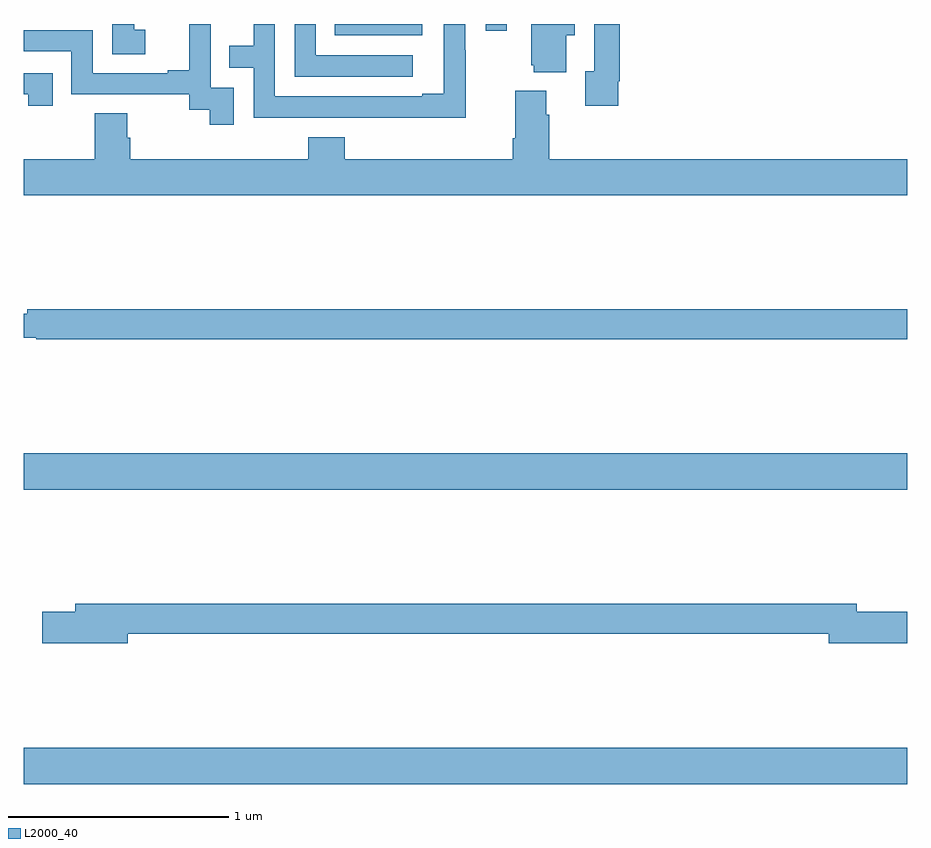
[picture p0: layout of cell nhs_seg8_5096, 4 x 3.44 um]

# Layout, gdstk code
import gdstk
lib = gdstk.Library(unit=1e-6, precision=1e-09)
def R(c, l, rs):  # rectangles x0, y0, x1, y1
    for r in rs: c.add(gdstk.rectangle(r[:2], r[2:], *l))
def P(c, l, *ps):  # polygons
    for p in ps: c.add(gdstk.Polygon(p, *l))
L2000_40 = (2000, 40)

nhs_seg8_5096 = lib.new_cell('nhs_seg8_5096')
R(nhs_seg8_5096, L2000_40, [(417,1156.46,421,1156.624), (417,1157.792,421,1157.956), (418.408,1159.85,418.804,1159.9), (419.091,1159.869,419.187,1159.9)])
P(nhs_seg8_5096, L2000_40, [(417.55,1159.873),(417.501,1159.873),(417.501,1159.9),(417.402,1159.9),(417.402,1159.764),(417.55,1159.764)],
  [(417.951,1159.611),(417.846,1159.611),(417.846,1159.841),(417.848,1159.841),(417.848,1159.9),(417.749,1159.9),(417.749,1159.69),(417.653,1159.69),(417.653,1159.677),(417.312,1159.677),(417.312,1159.872),(417,1159.872),(417,1159.776),(417.216,1159.776),(417.216,1159.581),(417.75,1159.581),(417.75,1159.513),(417.843,1159.513),(417.843,1159.443),(417.951,1159.443)],
  [(419.692,1159.642),(419.699,1159.642),(419.699,1159.9),(419.583,1159.9),(419.583,1159.686),(419.543,1159.686),(419.543,1159.53),(419.692,1159.53)],
  [(419.001,1159.781),(418.998,1159.781),(418.998,1159.9),(418.902,1159.9),(418.902,1159.585),(418.805,1159.585),(418.805,1159.572),(418.137,1159.572),(418.137,1159.9),(418.041,1159.9),(418.041,1159.802),(417.931,1159.802),(417.931,1159.701),(418.041,1159.701),(418.041,1159.476),(418.537,1159.476),(418.537,1159.475),(419.001,1159.475)],
  [(419.455,1159.85),(419.494,1159.85),(419.494,1159.9),(419.297,1159.9),(419.297,1159.713),(419.309,1159.713),(419.309,1159.682),(419.455,1159.682)],
  [(418.762,1159.758),(418.323,1159.758),(418.323,1159.9),(418.227,1159.9),(418.227,1159.662),(418.762,1159.662)],
  [(417.131,1159.677),(417,1159.677),(417,1159.581),(417.02,1159.581),(417.02,1159.53),(417.131,1159.53)],
  [(421,1159.288),(419.378,1159.288),(419.378,1159.49),(419.365,1159.49),(419.365,1159.597),(419.225,1159.597),(419.225,1159.384),(419.213,1159.384),(419.213,1159.288),(418.454,1159.288),(418.454,1159.387),(418.289,1159.387),(418.289,1159.288),(417.482,1159.288),(417.482,1159.386),(417.469,1159.386),(417.469,1159.496),(417.322,1159.496),(417.322,1159.288),(417,1159.288),(417,1159.124),(421,1159.124)],
  [(421,1158.608),(417.016,1158.608),(417.016,1158.589),(417,1158.589),(417,1158.48),(417.058,1158.48),(417.058,1158.472),(421,1158.472)],
  [(417.472,1157.14),(420.644,1157.14),(420.644,1157.098),(421,1157.098),(421,1157.24),(420.772,1157.24),(420.772,1157.276),(417.233,1157.276),(417.233,1157.24),(417.084,1157.24),(417.084,1157.098),(417.472,1157.098)])

lib.write_gds('nhs_seg8_5096.gds')
